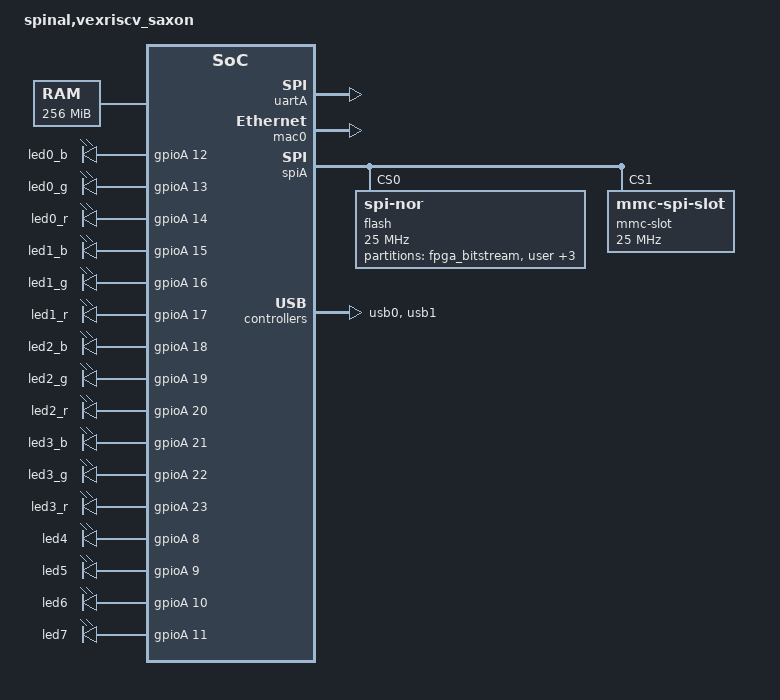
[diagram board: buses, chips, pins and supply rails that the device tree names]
/dts-v1/;
#include <dt-bindings/gpio/gpio.h>
#include <dt-bindings/input/input.h>
#include <dt-bindings/interrupt-controller/irq.h>

#define SAXON_CPU_ISA "rv32imafd"

/ {
    #address-cells = <0x1>;
    #size-cells = <0x1>;
    compatible = "spinal,vexriscv";
    model = "spinal,vexriscv_saxon";

    chosen {
        bootargs = "rootwait console=hvc0 earlycon=sbi root=/dev/mmcblk0p2 init=/sbin/init mmc_core.use_spi_crc=0 loglevel=8"; // loglevel=8

        //bootargs = "rootwait console=hvc0 earlycon=sbi root=/dev/ram0 init=/boot mmc_core.use_spi_crc=0";
        //bootargs = "rootwait console=hvc0 earlycon=sbi root=/dev/ram0 init=/sbin/init mmc_core.use_spi_crc=0";
        //linux,initrd-start = <0x81000000>;
        //linux,initrd-end =   <0x82400000>;
    };

    cpus {
        #address-cells = <0x1>;
        #size-cells = <0x0>;
        timebase-frequency = <100000000>;
        #include <boards/common/dts/linux_cpu.dts>
    };

    memory@80000000 {
        device_type = "memory";
        reg = <0x80000000 0x10000000>;
    };



    reserved-memory {
        #address-cells = <1>;
        #size-cells = <1>;
        ranges;

        opensbi: sbi@80F80000 {
            reg = <0x80F80000 0x80000>;
        };
        framebuffer: sbi@8F000000 {
            reg = <0x8F000000 0x1000000>;
        };
    };


	periph_clock: clock@0 {
		#clock-cells = <0>;
		compatible = "fixed-clock";
		clock-frequency = <100000000>;
		//clock-output-names = "periph_clock";
	};

    framebuffer0: framebuffer@8F000000 {
        compatible = "spinal-framebuffer";
        reg = <0x8F000000 (1920 * 1024 * 4)>,
              <0x10090000 0x1000>;
        clocks = <&pll2>;
        dmas = <&dmaA 0>;
        dma-names = "stream";

        format = "r5g6b5";
        mode = "1024x768@60m";
    };

    periph@10000000 {
        compatible = "simple-bus";
        #address-cells = <0x1>;
        #size-cells = <0x1>;
        ranges = <0x0 0x10000000 0x01000000>;

        pll2: clock@90000 {
            compatible = "spinal,clk-mmcme2";
            reg = <0x91000 0x1000>;
            #clock-cells = <0>;
            clocks = <&periph_clock>;
        };


        plic: interrupt-controller@c00000 {
            compatible = "sifive,plic-1.0.0", "sifive,fu540-c000-plic";
            #interrupt-cells = <1>;
            interrupt-controller;
            interrupts-extended = <
                #include <boards/common/dts/linux_plic_link.dts>
            >;
            reg = <0x00C00000 0x400000>;
            riscv,ndev = <32>;
        };

        gpioA: gpio@0 {
            compatible = "spinal-lib,gpio-1.0";
            reg = <0x000000 0x1000>;
            ngpio = <32>;
            interrupt-parent = <&plic>;
            interrupts-pin = <24 25 26 27>;
            interrupts     = < 4  5  6  7>;
            gpio-controller;
            #gpio-cells = <2>;
            interrupt-controller;
            #interrupt-cells = <2>;
        };

        uartA: ttySpinal@10000 {
                compatible = "spinal-lib,uart-1.0";
                reg = <0x10000 0x1000>;
                clocks = <&periph_clock>;
        };

        mac0: mac@40000 {
            compatible = "spinal,lib_mac";
            reg = <0x40000 0x1000>;
            interrupt-parent = <&plic>;
            interrupts = <3>;
            mac-address = [00 01 23 34 56 78];
        };

        spiA: spi@20000 {
            compatible = "spinal-lib,spi-1.0";
            #address-cells = <1>;
            #size-cells = <0>;   
            reg = <0x020000 0x1000>;
            cmd_fifo_depth = <256>;
            rsp_fifo_depth = <256>;
            clocks = <&periph_clock>;
            cs-gpios = <0>, <0>, <&gpioA 28 0>, <&gpioA 29 0>;
                   
            flash: flash@0 {
                #address-cells = <1>;
                #size-cells = <1>;
                compatible = "spi-nor";
                reg = <0>;
                spi-max-frequency = <25000000>;

                partition@0 {
                    label = "fpga_bitstream";
                    reg = <0x000000 0x400000>;
                };
                partition@1 {
                    label = "user";
                    reg = <0x400000 0xA00000>;
                };
                partition@2 {
                    label = "uboot-env";
                    reg = <0xE00000 0x010000>;
                };
                partition@3 {
                    label = "opensbi";
                    reg = <0xF00000 0x040000>;
                };
                partition@4 {
                    label = "uboot";
                    reg = <0xF40000 0x0C0000>;
                };
            };

            mmc-slot@1 {
                compatible = "mmc-spi-slot";
                reg = <1>;
                voltage-ranges = <3300 3300>;
                spi-max-frequency = <25000000>;
            };

        };

        dmaA: dma@80000 {
            compatible = "spinal,lib-dmasg";
            reg = <0x80000 0x10000>;
            interrupt-parent = <&plic>;
            interrupts = <12>;

			#dma-cells = <1>;
            #address-cells = <1>;
            #size-cells = <0>;   
            dma-channel@0 {
	            reg = <0>;
			    interrupt-parent = <&plic>;
			    interrupts = <12>;
            };
            dma-channel@1 {
	            reg = <1>;
			    interrupt-parent = <&plic>;
			    interrupts = <13>;
            };
        };

        audio_out0: audio_out@94000 {
            compatible = "spinal,lib-audio-out";
            reg = <0x94000 0x1000>;

            dmas = <&dmaA 1>;
            dma-names = "tx";

            clocks = <&periph_clock>;
        };

        usb0: ohci@a0000 {
          compatible = "generic-ohci";
          reg = <0xa0000 0x1000>;
          interrupt-parent = <&plic>;
          interrupts = <16>;
        };

        usb1: udc@b0000 {
          compatible = "spinal-udc";
          reg = <0xb0000 0x10000>;
          interrupt-parent = <&plic>;
          interrupts = <17>;
        };
    };

    leds: leds {
        compatible = "gpio-leds";

        led0_b {
            label = "led0_b";
            gpios = <&gpioA 12 0>;
            linux,default-trigger = "none";
        };
        led0_g {
            label = "led0_g";
            gpios = <&gpioA 13 0>;
            linux,default-trigger = "none";
        };
        led0_r {
            label = "led0_r";
            gpios = <&gpioA 14 0>;
            linux,default-trigger = "none";
        };
        led1_b {
            label = "led1_b";
            gpios = <&gpioA 15 0>;
            linux,default-trigger = "none";
        };
        led1_g {
            label = "led1_g";
            gpios = <&gpioA 16 0>;
            linux,default-trigger = "none";
        };
        led1_r {
            label = "led1_r";
            gpios = <&gpioA 17 0>;
            linux,default-trigger = "none";
        };
        led2_b {
            label = "led2_b";
            gpios = <&gpioA 18 0>;
            linux,default-trigger = "none";
        };
        led2_g {
            label = "led2_g";
            gpios = <&gpioA 19 0>;
            linux,default-trigger = "none";
        };
        led2_r {
            label = "led2_r";
            gpios = <&gpioA 20 0>;
            linux,default-trigger = "none";
        };
        led3_b {
            label = "led3_b";
            gpios = <&gpioA 21 0>;
            linux,default-trigger = "none";
        };
        led3_g {
            label = "led3_g";
            gpios = <&gpioA 22 0>;
            linux,default-trigger = "none";
        };
        led3_r {
            label = "led3_r";
            gpios = <&gpioA 23 0>;
            linux,default-trigger = "none";
        };


        led4 {
            label = "led4";
            gpios = <&gpioA 8 0>;
            linux,default-trigger = "none";
        };
        led5 {
            label = "led5";
            gpios = <&gpioA 9 0>;
            linux,default-trigger = "none";
        };
        led6 {
            label = "led6";
            gpios = <&gpioA 10 0>;
            linux,default-trigger = "mmc0";
        };
        led7 {
            label = "led7";
            gpios = <&gpioA 11 0>;
            linux,default-trigger = "activity";
        };
    };
};


